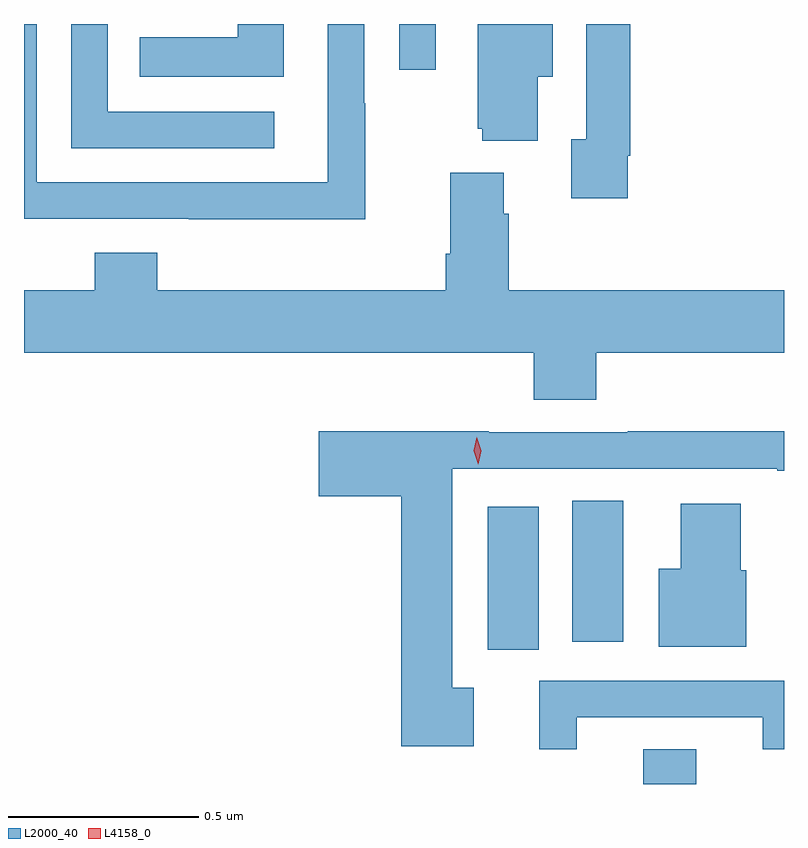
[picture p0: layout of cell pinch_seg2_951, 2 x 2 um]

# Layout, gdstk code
import gdstk
lib = gdstk.Library(unit=1e-6, precision=1e-09)
def R(c, l, rs):  # rectangles x0, y0, x1, y1
    for r in rs: c.add(gdstk.rectangle(r[:2], r[2:], *l))
def P(c, l, *ps):  # polygons
    for p in ps: c.add(gdstk.Polygon(p, *l))
L2000_40 = (2000, 40)
L4158_0 = (4158, 0)

pinch_seg2_951 = lib.new_cell('pinch_seg2_951')
R(pinch_seg2_951, L2000_40, [(589.784,649.165,589.924,649.256), (589.376,649.518,589.51,649.894), (589.598,649.539,589.732,649.91), (589.143,651.045,589.239,651.165)])
P(pinch_seg2_951, L2000_40, [(588.838,651.165),(588.717,651.165),(588.717,651.13),(588.46,651.13),(588.46,651.026),(588.838,651.026)],
  [(588.814,650.934),(588.375,650.934),(588.375,651.165),(588.279,651.165),(588.279,650.838),(588.814,650.838)],
  [(589.507,651.026),(589.546,651.026),(589.546,651.165),(589.349,651.165),(589.349,650.889),(589.361,650.889),(589.361,650.858),(589.507,650.858)],
  [(589.053,650.957),(589.05,650.957),(589.05,651.165),(588.954,651.165),(588.954,650.748),(588.189,650.748),(588.189,651.165),(588.155,651.165),(588.155,650.652),(588.589,650.652),(588.589,650.651),(589.053,650.651)],
  [(589.744,650.818),(589.751,650.818),(589.751,651.165),(589.635,651.165),(589.635,650.862),(589.595,650.862),(589.595,650.706),(589.744,650.706)],
  [(589.661,650.3),(590.155,650.3),(590.155,650.464),(589.43,650.464),(589.43,650.666),(589.417,650.666),(589.417,650.773),(589.277,650.773),(589.277,650.56),(589.265,650.56),(589.265,650.464),(588.506,650.464),(588.506,650.563),(588.341,650.563),(588.341,650.464),(588.155,650.464),(588.155,650.3),(589.496,650.3),(589.496,650.176),(589.661,650.176)],
  [(589.339,649.418),(589.282,649.418),(589.282,649.995),(590.137,649.995),(590.137,649.99),(590.155,649.99),(590.155,650.093),(589.744,650.093),(589.744,650.091),(589.378,650.091),(589.378,650.093),(588.93,650.093),(588.93,649.922),(589.148,649.922),(589.148,649.265),(589.339,649.265)],
  [(590.056,649.728),(590.041,649.728),(590.041,649.903),(589.883,649.903),(589.883,649.732),(589.826,649.732),(589.826,649.526),(590.056,649.526)],
  [(589.609,649.341),(590.099,649.341),(590.099,649.257),(590.155,649.257),(590.155,649.437),(589.511,649.437),(589.511,649.257),(589.609,649.257)])
P(pinch_seg2_951, L4158_0, [(589.35,650.006),(589.35,650.006),(589.338,650.042),(589.347,650.078),(589.347,650.078),(589.347,650.078),(589.358,650.042),(589.35,650.006)])

lib.write_gds('pinch_seg2_951.gds')
